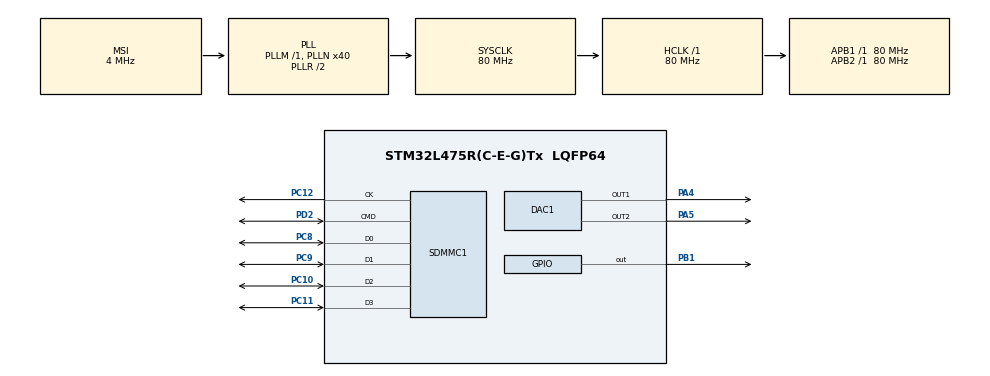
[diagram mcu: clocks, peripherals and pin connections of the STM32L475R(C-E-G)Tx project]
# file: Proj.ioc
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DAC1.DAC_Channel-DAC_OUT2=DAC_CHANNEL_2
FATFS._MAX_SS=4096
Mcu.Family=STM32L4
Mcu.Name=STM32L475R(C-E-G)Tx
Mcu.Package=LQFP64
NVIC.PriorityGroup=NVIC_PRIORITYGROUP_4
NVIC.TIM2_IRQn=true\:0\:0\:false\:false\:true\:true\:true
NVIC.TIM6_DAC_IRQn=true\:0\:0\:false\:false\:true\:true\:true
PA4.Signal=COMP_DAC11_group
PA5.Signal=COMP_DAC12_group
PB1.Signal=GPIO_Output
PC10.GPIO_PuPd=GPIO_PULLUP
PC10.Mode=SD_4_bits_Wide_bus
PC10.Signal=SDMMC1_D2
PC11.GPIO_PuPd=GPIO_PULLUP
PC11.Mode=SD_4_bits_Wide_bus
PC11.Signal=SDMMC1_D3
PC12.Mode=SD_4_bits_Wide_bus
PC12.Signal=SDMMC1_CK
PC8.GPIO_PuPd=GPIO_PULLUP
PC8.Mode=SD_4_bits_Wide_bus
PC8.Signal=SDMMC1_D0
PC9.GPIO_PuPd=GPIO_PULLUP
PC9.Mode=SD_4_bits_Wide_bus
PC9.Signal=SDMMC1_D1
PD2.GPIO_PuPd=GPIO_PULLUP
PD2.Mode=SD_4_bits_Wide_bus
PD2.Signal=SDMMC1_CMD
ProjectManager.HeapSize=0x200
ProjectManager.StackSize=0x400
ProjectManager.TargetToolchain=TrueSTUDIO
RCC.ADCFreq_Value=40000000
RCC.AHBFreq_Value=80000000
RCC.APB1Freq_Value=80000000
RCC.APB1TimFreq_Value=80000000
RCC.APB2Freq_Value=80000000
RCC.APB2TimFreq_Value=80000000
RCC.CortexFreq_Value=80000000
RCC.HCLKFreq_Value=80000000
RCC.HSE_VALUE=8000000
RCC.HSI_VALUE=16000000
RCC.LSE_VALUE=32768
RCC.MSI_VALUE=4000000
RCC.PLLN=40
RCC.PLLSAI1N=20
RCC.SYSCLKFreq_VALUE=80000000
RCC.SYSCLKSource=RCC_SYSCLKSOURCE_PLLCLK
RCC.USBFreq_Value=40000000
RCC.VCOOutputFreq_Value=160000000
SH.COMP_DAC11_group.0=DAC1_OUT1,DAC_OUT1
SH.COMP_DAC12_group.0=DAC1_OUT2,DAC_OUT2
TIM2.AutoReloadPreload=TIM_AUTORELOAD_PRELOAD_ENABLE
TIM2.Period=1
TIM2.Prescaler=700
VP_FATFS_VS_SDIO.Mode=SDIO
VP_TIM2_VS_ClockSourceINT.Mode=Internal
board=custom

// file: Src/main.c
/* USER CODE BEGIN Header */
/**
  ******************************************************************************
  * @file           : main.c
  * @brief          : Main program body
  ******************************************************************************
  * @attention
  *
  * <h2><center>&copy; Copyright (c) 2021 STMicroelectronics.
  * All rights reserved.</center></h2>
  *
  * This software component is licensed by ST under BSD 3-Clause license,
  * the "License"; You may not use this file except in compliance with the
  * License. You may obtain a copy of the License at:
  *                        opensource.org/licenses/BSD-3-Clause
  *
  ******************************************************************************
  */
/* USER CODE END Header */

#include "main.h"
#include "fatfs.h"

/* USER CODE BEGIN Includes */
#include <string.h>
/* USER CODE END Includes */

/* USER CODE BEGIN PTD */
//#define	DEBUG_TEST_READ_TEXT_FROM_SD
//#define	DEBUG_VIEW_FREQ_IRQ
//#define	DEBUG_ANY_MANUAL_SIGNAL
#define	NORMAL_MODE
#define	START_SIMCOM
//#define	SWITCH_FILES
/* USER CODE END PTD */

DAC_HandleTypeDef hdac1;

SD_HandleTypeDef hsd1;

TIM_HandleTypeDef htim2;

/* USER CODE BEGIN PV */
/* Private variables ---------------------------------------------------------*/
uint8_t curBufIdx = 0;
uint8_t wavBuf[2][WAV_BUF_SIZE];
uint16_t curBufOffset = 0;
uint8_t wavReadFlag = 0;
uint32_t wavDataSize = 0;
uint32_t curWavIdx = 0;
uint8_t stopFlag = 0;

FATFS fileSystem;
FIL audioFile;
uint32_t readBytes = 0;

/* USER CODE END PV */

void SystemClock_Config(void);
static void MX_GPIO_Init(void);
static void MX_SDMMC1_SD_Init(void);
static void MX_TIM2_Init(void);
static void MX_DAC1_Init(void);

/* USER CODE BEGIN 0 */
#ifdef	DEBUG_TEST_READ_TEXT_FROM_SD
FATFS SDFatFs;  /* File system object for SD card logical drive */
FIL MyFile;     /* File object */
char SD_Path[4];  /* SD logical drive path */
#endif
uint16_t _val;
uint16_t _cnt;
#define STEP_VAL	1
#define MAX_VAL		0xFFF

FRESULT res;
FRESULT resTryMount;
FRESULT resTryOpenFile;
FRESULT resTryReadFile;
uint8_t readBufIdx = 0;

//uint8_t path[][] = {"gardenss.wav", "ClearDay.wav"};
//  uint8_t path[] = "audio.wav";//шипение

uint8_t pathG[] = "War.wav";
//uint8_t pathG[] = "Avaria.wav";
//uint8_t pathG[] = "Avaria 1.wav";
//uint8_t pathG[] = "gardenss.wav";//v
//  uint8_t path[] = "Dubstep.wav";//v
uint8_t pathC[] = "ClearDay.wav";//v
uint8_t* path[2];

void AudioFileInit()
{
	path[0] = pathG;
	path[1] = pathC;
}

void AudioFileMount()
{
#ifdef	NORMAL_MODE

  resTryMount = f_mount(&fileSystem, SDPath, 1);
#endif
}

void AudioFileOpen(uint8_t* arr, uint8_t sz)
{

	  resTryOpenFile = f_open(&audioFile, (char*)arr, FA_READ);

}

void AudioFileRead()
{
	  //#2
	  //Таким образом, находим позицию в буфере, которая соответствует символу ‘d’ и прибавляем к этому значению 8 (4 байта для ‘data’ и 4 байта для размера данных):
	  uint16_t dataOffset = 0;
	  resTryReadFile = f_read(&audioFile, wavBuf[0], WAV_BUF_SIZE, &readBytes);
	  for (uint16_t i = 0; i < (WAV_BUF_SIZE - 3); i++)
	  {
	      if ((wavBuf[0][i] == 'd') && (wavBuf[0][i + 1] == 'a') &&
	          (wavBuf[0][i + 2] == 't') && (wavBuf[0][i + 3] == 'a'))
	      {
	          dataOffset = i + 8;
	          break;
	      }
	  }

	  //#3
	  //Заголовок обнаружен, перемещаем указатель FatFs для работы с файлом на аудио-данные и заодно определяем количество байт данных. Для этого вычитаем из общего размера файла размер заголовка:
	  res = f_lseek(&audioFile, dataOffset);
	  wavDataSize = f_size(&audioFile) - dataOffset;//[байт] длина полной последовательности аудио данных
	  //#3
	  //нужно быстро выводить данные на ЦАП. для этого сделаем буферизацию.
	  //в два буфера wavBuf[0] и wavBuf[1] будем пихать массив данных из файла
	  //когда выводим на ЦАП буфер 1 заполняем буфер 2 и наоборот
	//  Реализуем этот механизм и, первым делом, заполняем оба буфера данными:
	    res = f_read(&audioFile, wavBuf[0], WAV_BUF_SIZE, &readBytes);
	    res = f_read(&audioFile, wavBuf[1], WAV_BUF_SIZE, &readBytes);
}

/* USER CODE END 0 */

int main(void)
{
  /* USER CODE BEGIN 1 */
	int ctnRead = 0;
	int whichFile = 0;
	_val = 0;
	int8_t _flag = 0;
	AudioFileInit();
  /* USER CODE END 1 */

  /* MCU Configuration--------------------------------------------------------*/

  /* Reset of all peripherals, Initializes the Flash interface and the Systick. */
  HAL_Init();

  /* Configure the system clock */
  SystemClock_Config();

  /* Initialize all configured peripherals */
  MX_GPIO_Init();
  MX_SDMMC1_SD_Init();
  MX_FATFS_Init();
  MX_TIM2_Init();
  MX_DAC1_Init();
  /* USER CODE BEGIN 2 */
  AudioFileMount();
  AudioFileOpen(path[0], 0);
  AudioFileRead();
//  Поскольку данные готовы, спокойно включаем DAC и TIM6 на генерацию прерываний:
    HAL_DAC_Start(&hdac1, DAC_CHANNEL_1);
    HAL_DAC_Start(&hdac1, DAC_CHANNEL_2);
    HAL_TIM_Base_Start_IT(&htim2);
  /* USER CODE END 2 */

  /* Infinite loop */
  /* USER CODE BEGIN WHILE */
#ifdef    START_SIMCOM
    HAL_GPIO_WritePin(GPIOB, GPIO_PIN_1, GPIO_PIN_SET);
    HAL_Delay(600);
    HAL_GPIO_WritePin(GPIOB, GPIO_PIN_1, GPIO_PIN_RESET);
    HAL_Delay(1100);
    HAL_GPIO_WritePin(GPIOB, GPIO_PIN_1, GPIO_PIN_SET);
#endif

#ifdef	DEBUG_TEST_READ_TEXT_FROM_SD
  //код проверки чтения SD карты
    uint8_t* bw;
    FRESULT res;
  res = f_mount(&SDFatFs, (TCHAR const*)SD_Path, 1);
	 if(res != FR_OK)
	    Error_Handler();
	  else
	  {
		  uint8_t arr[] = {0, 1, 2};
		  uint8_t arrrd[20];
		  uint8_t* bw;
		  res = f_open(&MyFile, "adr.txt", FA_READ|FA_WRITE);
		  res = f_read(&MyFile, arrrd, 10, bw);
		  res = f_write(&MyFile, arr, 3, bw);
	  }
#endif

  /* USER CODE END 2 */

  /* Infinite loop */
  /* USER CODE BEGIN WHILE */
  while (1)
  {
#ifdef	DEBUG_ANY_MANUAL_SIGNAL
//	  HAL_Delay(10);

//		if(_cnt < 2)
//			_cnt++;
//		else
//			_cnt = 0;
//
//		if(_cnt == 0)
//		{
			if(_flag == 0)
			{
				if(_val < MAX_VAL)
					_val = _val + STEP_VAL;
				else
					_flag = 1;

			}
			else
			{
				if(_val > 0)
					_val = _val - STEP_VAL;
				else
					_flag = 0;
			}

//		}
#endif
#ifdef	NORMAL_MODE
	  if (wavReadFlag == 1)
	  {
//		  все данные из буфера озвучены. буфер полошел к концу. его нужно обновить"

		  //если сейчас озвучивается буфер 1 то заполняется буфер 2, и наоборот
		  readBufIdx = 0;
	      if (curBufIdx == 0)
	          readBufIdx = 1;
	      f_read(&audioFile, wavBuf[readBufIdx], WAV_BUF_SIZE, &readBytes);
	      wavReadFlag = 0;
#ifdef	SWITCH_FILES
	      if(ctnRead > 3000)
	      {
	    	  ctnRead = 0;
	    	  stopFlag = 1;
	    	  if(whichFile == 0)
	    		  whichFile = 1;
	    	  else
	    		  whichFile = 0;
	    	  AudioFileOpen(path[whichFile], 0);
	    	  AudioFileRead();

	      }
	      else
	    	  ctnRead++;
#endif
	  }
	  //#
	  //Кроме того, сразу же в while(1) помещаем код, который отвечает за окончание воспроизведения, когда файл подошел к концу:
	  if (stopFlag == 1)
	  {
		  //просто закрываем файл
//	      res = f_close(&audioFile);

	      stopFlag = 0;
	      curWavIdx = 0;
	      readBufIdx = 0;
	      AudioFileRead();
	  }
#endif

    /* USER CODE END WHILE */

  }
}

void SystemClock_Config(void)
{
  RCC_OscInitTypeDef RCC_OscInitStruct = {0};
  RCC_ClkInitTypeDef RCC_ClkInitStruct = {0};
  RCC_PeriphCLKInitTypeDef PeriphClkInit = {0};

  /** Initializes the CPU, AHB and APB busses clocks
  */
  RCC_OscInitStruct.OscillatorType = RCC_OSCILLATORTYPE_MSI;
  RCC_OscInitStruct.MSIState = RCC_MSI_ON;
  RCC_OscInitStruct.MSICalibrationValue = 0;
  RCC_OscInitStruct.MSIClockRange = RCC_MSIRANGE_6;
  RCC_OscInitStruct.PLL.PLLState = RCC_PLL_ON;
  RCC_OscInitStruct.PLL.PLLSource = RCC_PLLSOURCE_MSI;
  RCC_OscInitStruct.PLL.PLLM = 1;
  RCC_OscInitStruct.PLL.PLLN = 40;
  RCC_OscInitStruct.PLL.PLLP = RCC_PLLP_DIV7;
  RCC_OscInitStruct.PLL.PLLQ = RCC_PLLQ_DIV2;
  RCC_OscInitStruct.PLL.PLLR = RCC_PLLR_DIV2;
  if (HAL_RCC_OscConfig(&RCC_OscInitStruct) != HAL_OK)
  {
    Error_Handler();
  }
  /** Initializes the CPU, AHB and APB busses clocks
  */
  RCC_ClkInitStruct.ClockType = RCC_CLOCKTYPE_HCLK|RCC_CLOCKTYPE_SYSCLK
                              |RCC_CLOCKTYPE_PCLK1|RCC_CLOCKTYPE_PCLK2;
  RCC_ClkInitStruct.SYSCLKSource = RCC_SYSCLKSOURCE_PLLCLK;
  RCC_ClkInitStruct.AHBCLKDivider = RCC_SYSCLK_DIV1;
  RCC_ClkInitStruct.APB1CLKDivider = RCC_HCLK_DIV1;
  RCC_ClkInitStruct.APB2CLKDivider = RCC_HCLK_DIV1;

  if (HAL_RCC_ClockConfig(&RCC_ClkInitStruct, FLASH_LATENCY_4) != HAL_OK)
  {
    Error_Handler();
  }
  PeriphClkInit.PeriphClockSelection = RCC_PERIPHCLK_SDMMC1;
  PeriphClkInit.Sdmmc1ClockSelection = RCC_SDMMC1CLKSOURCE_PLLSAI1;
  PeriphClkInit.PLLSAI1.PLLSAI1Source = RCC_PLLSOURCE_MSI;
  PeriphClkInit.PLLSAI1.PLLSAI1M = 1;
  PeriphClkInit.PLLSAI1.PLLSAI1N = 20;
  PeriphClkInit.PLLSAI1.PLLSAI1P = RCC_PLLP_DIV7;
  PeriphClkInit.PLLSAI1.PLLSAI1Q = RCC_PLLQ_DIV2;
  PeriphClkInit.PLLSAI1.PLLSAI1R = RCC_PLLR_DIV2;
  PeriphClkInit.PLLSAI1.PLLSAI1ClockOut = RCC_PLLSAI1_48M2CLK;
  if (HAL_RCCEx_PeriphCLKConfig(&PeriphClkInit) != HAL_OK)
  {
    Error_Handler();
  }
  /** Configure the main internal regulator output voltage
  */
  if (HAL_PWREx_ControlVoltageScaling(PWR_REGULATOR_VOLTAGE_SCALE1) != HAL_OK)
  {
    Error_Handler();
  }
}

static void MX_DAC1_Init(void)
{

  DAC_ChannelConfTypeDef sConfig = {0};

  /** DAC Initialization
  */
  hdac1.Instance = DAC1;
  if (HAL_DAC_Init(&hdac1) != HAL_OK)
  {
    Error_Handler();
  }
  /** DAC channel OUT1 config
  */
  sConfig.DAC_SampleAndHold = DAC_SAMPLEANDHOLD_DISABLE;
  sConfig.DAC_Trigger = DAC_TRIGGER_NONE;
  sConfig.DAC_OutputBuffer = DAC_OUTPUTBUFFER_ENABLE;
  sConfig.DAC_ConnectOnChipPeripheral = DAC_CHIPCONNECT_DISABLE;
  sConfig.DAC_UserTrimming = DAC_TRIMMING_FACTORY;
  if (HAL_DAC_ConfigChannel(&hdac1, &sConfig, DAC_CHANNEL_1) != HAL_OK)
  {
    Error_Handler();
  }
  /** DAC channel OUT2 config
  */
  sConfig.DAC_ConnectOnChipPeripheral = DAC_CHIPCONNECT_DISABLE;
  if (HAL_DAC_ConfigChannel(&hdac1, &sConfig, DAC_CHANNEL_2) != HAL_OK)
  {
    Error_Handler();
  }

}

static void MX_SDMMC1_SD_Init(void)
{

  hsd1.Instance = SDMMC1;
  hsd1.Init.ClockEdge = SDMMC_CLOCK_EDGE_RISING;
  hsd1.Init.ClockBypass = SDMMC_CLOCK_BYPASS_DISABLE;
  hsd1.Init.ClockPowerSave = SDMMC_CLOCK_POWER_SAVE_DISABLE;
  hsd1.Init.BusWide = SDMMC_BUS_WIDE_1B;
  hsd1.Init.HardwareFlowControl = SDMMC_HARDWARE_FLOW_CONTROL_DISABLE;
  hsd1.Init.ClockDiv = 0;

}

static void MX_TIM2_Init(void)
{

  TIM_ClockConfigTypeDef sClockSourceConfig = {0};
  TIM_MasterConfigTypeDef sMasterConfig = {0};

  htim2.Instance = TIM2;
  htim2.Init.Prescaler = 2300;
  htim2.Init.CounterMode = TIM_COUNTERMODE_UP;
  htim2.Init.Period = 1;
  htim2.Init.ClockDivision = TIM_CLOCKDIVISION_DIV1;
  htim2.Init.AutoReloadPreload = TIM_AUTORELOAD_PRELOAD_ENABLE;
  if (HAL_TIM_Base_Init(&htim2) != HAL_OK)
  {
    Error_Handler();
  }
  sClockSourceConfig.ClockSource = TIM_CLOCKSOURCE_INTERNAL;
  if (HAL_TIM_ConfigClockSource(&htim2, &sClockSourceConfig) != HAL_OK)
  {
    Error_Handler();
  }
  sMasterConfig.MasterOutputTrigger = TIM_TRGO_RESET;
  sMasterConfig.MasterSlaveMode = TIM_MASTERSLAVEMODE_DISABLE;
  if (HAL_TIMEx_MasterConfigSynchronization(&htim2, &sMasterConfig) != HAL_OK)
  {
    Error_Handler();
  }

}

static void MX_GPIO_Init(void)
{
  GPIO_InitTypeDef GPIO_InitStruct = {0};

  /* GPIO Ports Clock Enable */
  __HAL_RCC_GPIOA_CLK_ENABLE();
  __HAL_RCC_GPIOB_CLK_ENABLE();
  __HAL_RCC_GPIOC_CLK_ENABLE();
  __HAL_RCC_GPIOD_CLK_ENABLE();

  /*Configure GPIO pin Output Level */
  HAL_GPIO_WritePin(GPIOB, GPIO_PIN_1, GPIO_PIN_RESET);

  /*Configure GPIO pin : PB1 */
  GPIO_InitStruct.Pin = GPIO_PIN_1;
  GPIO_InitStruct.Mode = GPIO_MODE_OUTPUT_PP;
  GPIO_InitStruct.Pull = GPIO_NOPULL;
  GPIO_InitStruct.Speed = GPIO_SPEED_FREQ_LOW;
  HAL_GPIO_Init(GPIOB, &GPIO_InitStruct);

}

/* USER CODE BEGIN 4 */
uint16_t _dacData;

void __attribute__((optimize("O0"))) UserTIM2IRQHandler(void)
{
#ifdef	DEBUG_VIEW_FREQ_IRQ
	HAL_DAC_SetValue(&hdac1, DAC_CHANNEL_2, DAC_ALIGN_12B_R, 0xFFFF);
	asm("nop");
	asm("nop");
	asm("nop");
	asm("nop");
	asm("nop");
	HAL_DAC_SetValue(&hdac1, DAC_CHANNEL_2, DAC_ALIGN_12B_R, 0);
#endif
#ifdef	DEBUG_ANY_MANUAL_SIGNAL

	HAL_DAC_SetValue(&hdac1, DAC_CHANNEL_2, DAC_ALIGN_12B_R, _val);
#endif
#ifdef	NORMAL_MODE

    _dacData = (((wavBuf[curBufIdx][curBufOffset + 1] << 8) | wavBuf[curBufIdx][curBufOffset]) + 32767);
    _dacData /= 16;
//    _dacData -= 250;
    _dacData /= 10;
    HAL_DAC_SetValue(&hdac1, DAC_CHANNEL_2, DAC_ALIGN_12B_R, _dacData);
//    HAL_DAC_SetValue(&hdac1, DAC_CHANNEL_1, DAC_ALIGN_12B_R, _dacData);
//    HAL_DAC_SetValue(&hdac1, DAC_CHANNEL_1, DAC_ALIGN_12B_R, (4095 - _dacData));

    //на каждом такте используем забираем и озвучиваем 2 байта из массива аудио данных
    curBufOffset += 2;//номер текущего байта в буфере, этот счетчик, соответственно, будет изменяться от 0 до 512.
    curWavIdx += 2;//общий счетчик байт wav-файла. Его мы используем, чтобы обнаружить конец трека и остановить воспроизведение.

    if (curWavIdx >= wavDataSize)
    {
    	//все данные озвучены, останавливаем процесс
//        HAL_TIM_Base_Stop_IT(&htim2);
        stopFlag = 1;
    }
    else
    {
    	//#
    	//Если конец файла еще не достигнут, то проверяем счетчик curBufOffset. Если значение равно 512 (WAV_BUF_SIZE), то буфер подошел к концу, а значит надо изменить номер активного буфера и выставить флаг wavReadFlag:

        if (curBufOffset == WAV_BUF_SIZE)
        {
            curBufOffset = 0;

            //смена текущего рабочего буфера из которого нужно озвучивать
            if (curBufIdx == 0)
                curBufIdx = 1;
            else
                curBufIdx = 0;

            wavReadFlag = 1;//флаг = "все данные из буфера озвучены. буфер полошел к концу. его нужно обновить"
        }
    }

#endif
}
/* USER CODE END 4 */

void Error_Handler(void)
{
}

/************************ (C) COPYRIGHT STMicroelectronics *****END OF FILE****/
